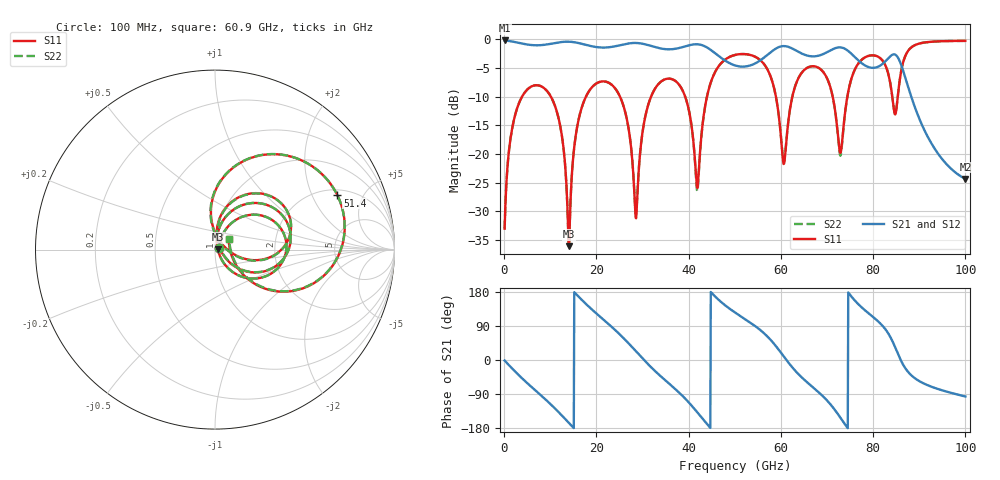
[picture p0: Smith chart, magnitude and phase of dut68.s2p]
! Touchstone file exported from HFSS 2026.1.0
!  File:  C:/ffzhzh/LocalFiles/Ansys_Project_Files/temp_train_TSV_RDL_68_1783626508_29156.aedt
!  Generated:  03:57:28 AM Jul 10, 2026
!  Design:  TSV_RDL
!  Project:  temp_train_TSV_RDL_68_1783626508_29156
! Variables:
!  h_bsmrdl = 2.33um
!  h_ox = 20um
!  h_rdl = 5um
!  h_sub = 95.3um
!  h_tmrdl = 3.47um
!  h_tsv = 95.3um
!  h_via = 3um
!  l_bsmrdl = 473.01um
!  l_sub = 3645.26um
!  l_tmrdl = 424.12um
!  m_sub = 200um
!  pitch = 43.95um
!  r_tsv = 11.88um
!  s_tmrdl = 10um
!  w_bsmrdl = 25.65um
!  w_sub = 500um
!  w_tmrdl = 17.6um
!  x_tsv_center1 = 432.92um
!  x_tsv_center2 = 931.58um
!  x_tsv_center3 = 1373.3um
!  x_tsv_center4 = 1871.96um
!  x_tsv_center5 = 2313.68um
!  x_tsv_center6 = 2812.34um
# GHz S MA R 50.000000
! Terminal data exported
! Port[1] = TM_RDL1_1_T1
! Port[2] = TM_RDL5_1_T1
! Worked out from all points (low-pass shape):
!   1000 points, 100 MHz to 100 GHz, reference 50 ohm
!   highest |S21| = -0.17 dB at 100 MHz (marker M1); lowest = -24.3 dB at 100 GHz (marker M2)
!   |S21| within 3 dB of the highest: start of sweep to 46.99 GHz; 56.33 GHz to 76.16 GHz (19.83 GHz wide, 29.9 % of centre) (the widest 2 of 3)
!   lowest |S11| = -36.1 dB at 14 GHz (marker M3), VSWR 1.03, Z = 51.6 + j0.0733 ohm
!   |S11| at or under -10 dB: 10.15 GHz to 17.72 GHz (7.573 GHz wide, 54.4 % of centre); 25.13 GHz to 31.84 GHz (6.713 GHz wide, 23.6 % of centre); 39.26 GHz to 43.97 GHz (4.709 GHz wide, 11.3 % of centre) (the widest 3 of 7)
!   |S22| runs from -36.1 to -0.2 dB; largest |S21 - S12| = 5.3e-12
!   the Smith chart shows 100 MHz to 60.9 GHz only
!   S11 on the Smith chart (normalised r, x): 100 MHz: 1.04, +0.02; 51.4 GHz: 2.31, +3.15; 60.9 GHz: 1.16, +0.13
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0.1  0.0223 28.9  0.9807 -1.4  0.9807 -1.4  0.0223 28.9
! Gamma 0 0 0 0
! Port Impedance 50 0 50 0
2.3  0.2131 53.6  0.9509 -29.4  0.9509 -29.4  0.2132 53.6
7.1  0.3988 3.7  0.89 -83.7  0.89 -83.7  0.3989 3.7
11.7  0.2132 -45.2  0.9413 -136.2  0.9413 -136.2  0.2133 -45.1
14  0.01571 2.6  0.9564 -165.5  0.9564 -165.5  0.01573 2.2
16.8  0.253 64.1  0.9176 159.0  0.9176 159.0  0.2528 64.1
24.5  0.3531 -14.8  0.8798 74.2  0.8798 74.2  0.353 -14.6
28.6  0.02751 28.8  0.9325 22.6  0.9325 22.6  0.02974 28.5
33.4  0.4064 50.2  0.844 -36.9  0.844 -36.9  0.4065 49.9
38.9  0.3443 -3.7  0.8627 -97.5  0.8627 -97.5  0.3442 -4.1
41.9  0.05044 44.3  0.9081 -138.5  0.9081 -138.5  0.04765 44.4
44.7  0.41 83.0  0.8159 -179.2  0.8159 -179.2  0.4096 83.3
50.1  0.7336 33.4  0.593 125.0  0.593 125.0  0.7333 33.6
51.4  0.7462 23.9  0.5801 114.6  0.5801 114.6  0.746 24.0
57.5  0.5058 -26.6  0.7573 56.7  0.7573 56.7  0.5057 -26.3
60.9  0.09545 36.7  0.8748 4.9  0.8748 4.9  0.09873 35.9
66.7  0.5833 19.7  0.7126 -69.5  0.7126 -69.5  0.5838 19.4
72.8  0.1041 16.5  0.8537 -150.4  0.8537 -150.4  0.09881 15.6
74  0.2464 73.1  0.8246 -171.5  0.8246 -171.5  0.2438 74.2
83.4  0.4793 -5.5  0.694 67.8  0.694 67.8  0.4806 -5.1
87.4  0.7764 46.4  0.408 -28.8  0.408 -28.8  0.7766 46.3
100  0.9725 -8.6  0.06073 -96.5  0.06073 -96.5  0.9722 -8.5
